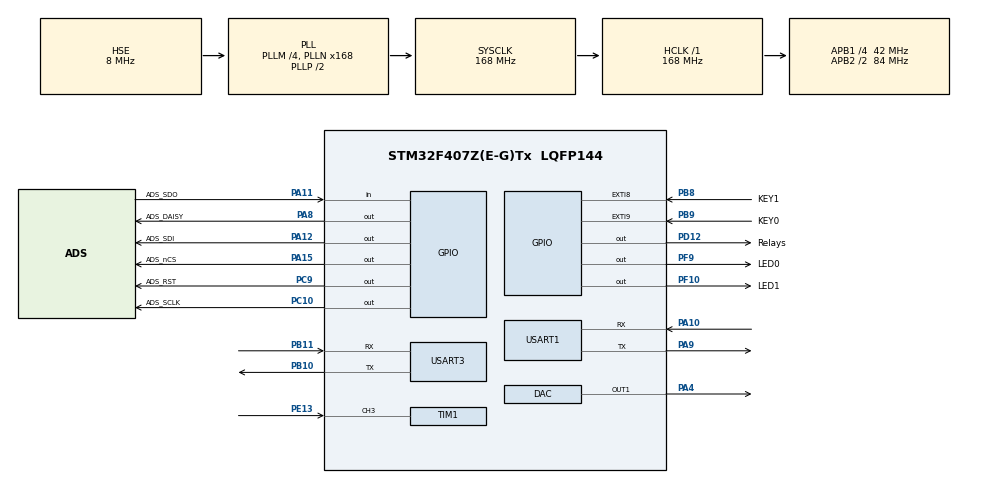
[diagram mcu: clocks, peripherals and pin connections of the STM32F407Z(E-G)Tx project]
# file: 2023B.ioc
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DAC.DAC_Trigger=DAC_TRIGGER_SOFTWARE
Mcu.Family=STM32F4
Mcu.Name=STM32F407Z(E-G)Tx
Mcu.Package=LQFP144
NVIC.PriorityGroup=NVIC_PRIORITYGROUP_4
NVIC.TIM1_CC_IRQn=true\:0\:0\:false\:false\:true\:true\:true\:true
NVIC.USART3_IRQn=true\:0\:0\:false\:false\:true\:true\:true\:true
PA10.Mode=Asynchronous
PA10.Signal=USART1_RX
PA11.GPIO_Label=ADS_SDO
PA11.Signal=GPIO_Input
PA12.GPIO_Label=ADS_SDI
PA12.Signal=GPIO_Output
PA13.Mode=Serial_Wire
PA13.Signal=SYS_JTMS-SWDIO
PA14.Mode=Serial_Wire
PA14.Signal=SYS_JTCK-SWCLK
PA15.GPIO_Label=ADS_nCS
PA15.Signal=GPIO_Output
PA4.Signal=COMP_DAC1_group
PA8.GPIO_Label=ADS_DAISY
PA8.Signal=GPIO_Output
PA9.Mode=Asynchronous
PA9.Signal=USART1_TX
PB10.Mode=Asynchronous
PB10.Signal=USART3_TX
PB11.Mode=Asynchronous
PB11.Signal=USART3_RX
PB8.GPIO_Label=KEY1
PB8.GPIO_ModeDefaultEXTI=GPIO_MODE_IT_FALLING
PB8.GPIO_PuPd=GPIO_PULLUP
PB8.Signal=GPXTI8
PB9.GPIO_Label=KEY0
PB9.GPIO_ModeDefaultEXTI=GPIO_MODE_IT_FALLING
PB9.GPIO_PuPd=GPIO_PULLUP
PB9.Signal=GPXTI9
PC10.GPIO_Label=ADS_SCLK
PC10.Signal=GPIO_Output
PC9.GPIO_Label=ADS_RST
PC9.Signal=GPIO_Output
PD12.GPIO_Label=Relays
PD12.Signal=GPIO_Output
PE13.Signal=S_TIM1_CH3
PF10.GPIO_Label=LED1
PF10.GPIO_PuPd=GPIO_PULLUP
PF10.GPIO_Speed=GPIO_SPEED_FREQ_HIGH
PF10.PinState=GPIO_PIN_SET
PF10.Signal=GPIO_Output
PF9.GPIO_Label=LED0
PF9.GPIO_PuPd=GPIO_PULLUP
PF9.GPIO_Speed=GPIO_SPEED_FREQ_HIGH
PF9.PinState=GPIO_PIN_SET
PF9.Signal=GPIO_Output
PH0-OSC_IN.Mode=HSE-External-Oscillator
PH0-OSC_IN.Signal=RCC_OSC_IN
PH1-OSC_OUT.Mode=HSE-External-Oscillator
PH1-OSC_OUT.Signal=RCC_OSC_OUT
ProjectManager.HeapSize=0x200
ProjectManager.StackSize=0x400
ProjectManager.TargetToolchain=STM32CubeIDE
RCC.48MHZClocksFreq_Value=84000000
RCC.AHBFreq_Value=168000000
RCC.APB1CLKDivider=RCC_HCLK_DIV4
RCC.APB1Freq_Value=42000000
RCC.APB1TimFreq_Value=84000000
RCC.APB2CLKDivider=RCC_HCLK_DIV2
RCC.APB2Freq_Value=84000000
RCC.APB2TimFreq_Value=168000000
RCC.CortexFreq_Value=168000000
RCC.HCLKFreq_Value=168000000
RCC.HSE_VALUE=8000000
RCC.HSI_VALUE=16000000
RCC.LSE_VALUE=32768
RCC.PLLM=4
RCC.PLLN=168
RCC.PLLSourceVirtual=RCC_PLLSOURCE_HSE
RCC.SYSCLKFreq_VALUE=168000000
RCC.SYSCLKSource=RCC_SYSCLKSOURCE_PLLCLK
RCC.VCOOutputFreq_Value=336000000
SH.COMP_DAC1_group.0=DAC_OUT1,DAC_OUT1
SH.S_TIM1_CH3.0=TIM1_CH3,Input_Capture3_from_TI3
TIM1.Channel-Input_Capture3_from_TI3=TIM_CHANNEL_3
TIM1.Prescaler=2-1
TIM3.Period=1
TIM3.Prescaler=9
TIM3.TIM_MasterOutputTrigger=TIM_TRGO_UPDATE
USART1.VirtualMode=VM_ASYNC
USART3.VirtualMode=VM_ASYNC
VP_TIM1_VS_ClockSourceINT.Mode=Internal
VP_TIM3_VS_ClockSourceINT.Mode=Internal
board=custom

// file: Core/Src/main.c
/* USER CODE BEGIN Header */
/**
 ******************************************************************************
 * @file           : main.c
 * @brief          : Main program body
 ******************************************************************************
 * @attention
 *
 * Copyright (c) 2023 STMicroelectronics.
 * All rights reserved.
 *
 * This software is licensed under terms that can be found in the LICENSE file
 * in the root directory of this software component.
 * If no LICENSE file comes with this software, it is provided AS-IS.
 *
 ******************************************************************************
 */
/* USER CODE END Header */
#include "main.h"
#include "dac.h"
#include "tim.h"
#include "usart.h"
#include "gpio.h"

/* USER CODE BEGIN Includes */
#include <stdio.h>
#include "math.h"
#include "arm_math.h"
#include "ADS8688.h"
#include "tjc_usart_hmi.h"

/* USER CODE END Includes */

/* USER CODE BEGIN PD */
//定义判断状态标志位
#define open_flag 0
#define c_flag 1
#define r_flag 2

//定义连接负载板电容
#define add_C 1.9

//定义基础开路振荡频率
#define basic_freq 132e3

//乘积和振荡频率的一次函数关关系
#define freq_slope -0.465
#define freq_intercept 60.803

//线缆等效电容线密度
#define line_density_slope 46.167
#define line_density_intercept 18.992

//定义分压测量电阻的串联已知电阻
#define Rs 20.5
/* USER CODE END PD */

/* USER CODE BEGIN PV */
int time[3];
int i = 0;
int flag = 1;

//定义第一次测量电路频率
double freq = 0;
//定义第一次测量的乘积=线长*振荡频率
double sum = 0;
//定义第一次测量线度
double length = 0;
//定义第一次测量电缆的电容值
double C = 0;

//定义接入负载后的振荡频率
double connect_freq = 0;

double R_vol = 0;
//负载类型判断
int type = 0;
/* USER CODE END PV */

void SystemClock_Config(void);
/* USER CODE BEGIN PFP */
//判断负载类型
int judge_type(float connect_freq);

//第一次计算电缆长度
void calculate_length();

//第二次计算
void recalculate();
/* USER CODE END PFP */

/* USER CODE BEGIN 0 */

void HAL_TIM_IC_CaptureCallback(TIM_HandleTypeDef *htim)
{
//	__HAL_TIM_SET_COUNTER(&htim1,0);

	if(i==0)
	{
		time[i] = HAL_TIM_ReadCapturedValue(&htim1, TIM_CHANNEL_3);
		i++;
	}
	else if(i==1)
	{
		time[i] = HAL_TIM_ReadCapturedValue(&htim1, TIM_CHANNEL_3);
		i++;
	}
	else
	{
		return;
	}

}
/* USER CODE END 0 */

int main(void)
{

  /* MCU Configuration--------------------------------------------------------*/

  /* Reset of all peripherals, Initializes the Flash interface and the Systick. */
  HAL_Init();

  /* Configure the system clock */
  SystemClock_Config();

  /* Initialize all configured peripherals */
  MX_GPIO_Init();
  MX_USART1_UART_Init();
  MX_DAC_Init();
  MX_TIM3_Init();
  MX_TIM1_Init();
  MX_USART3_UART_Init();
  /* USER CODE BEGIN 2 */
  //初始化ADS8688
  ADS8688_Init_Mult();
  initRingBuff();
  HAL_UART_Receive_IT(&huart3,RxBuff,1);
  //初始化继电器
  HAL_GPIO_WritePin(Relays_GPIO_Port, Relays_Pin, RESET);

  /* USER CODE END 2 */

  /* Infinite loop */
  /* USER CODE BEGIN WHILE */
//  //适当延时，使输入捕获频率测量完毕
//  HAL_Delay(1000);
//  //计算第一次的参数：freq,C,length
//  calculate_length();
//
//  HAL_Delay(1000);
//
//  //进行第二次计算
//  recalculate();
//  //进行负载判断
//  type = judge_type(connect_freq);
//
//  if(type == c_flag)
//  {
//	  //计算连接后的乘积
//	  double sum_connect = (-0.4052)*connect_freq/1000+60.846;
//	  //计算连接后的等效电缆长度
//	  double length_connect = sum_connect/(connect_freq/1000);
//	  //根据电缆电容线密度，由等效长度算出等效电容大小
//	  double C_connect = length_connect*line_density_slope+line_density_intercept;
//	  //算出来的C不对，需要拟合得出正确的结果
//	  double real_c = 2.0755*(C_connect-C-add_C)+8.7644;
//	  printf("newC=%f\r\n",real_c);
//  }
//  else if(type == r_flag)
//  {
//	 //写后续切换继电器操作
//  	 HAL_GPIO_WritePin(Relays_GPIO_Port, Relays_Pin, SET);
//  	 HAL_Delay(100);
//
//  	 //分压法测电阻阻值，ADS8688采集电压更准确
//  	 R_vol = get_vol(1);
//	 printf("R_vol=%f\r\n",R_vol);
//
// 	 double R = (R_vol*Rs)/(5-R_vol);
// 	 printf("R=%f\r\n",R);
//  }
//  else
//  {
//	  //开路，什么也不操作
//  }

    while (1)
  {

    	TJC_USART();//等待按键按下

  }

    /* USER CODE END WHILE */

}

void SystemClock_Config(void)
{
  RCC_OscInitTypeDef RCC_OscInitStruct = {0};
  RCC_ClkInitTypeDef RCC_ClkInitStruct = {0};

  /** Configure the main internal regulator output voltage
  */
  __HAL_RCC_PWR_CLK_ENABLE();
  __HAL_PWR_VOLTAGESCALING_CONFIG(PWR_REGULATOR_VOLTAGE_SCALE1);

  /** Initializes the RCC Oscillators according to the specified parameters
  * in the RCC_OscInitTypeDef structure.
  */
  RCC_OscInitStruct.OscillatorType = RCC_OSCILLATORTYPE_HSE;
  RCC_OscInitStruct.HSEState = RCC_HSE_ON;
  RCC_OscInitStruct.PLL.PLLState = RCC_PLL_ON;
  RCC_OscInitStruct.PLL.PLLSource = RCC_PLLSOURCE_HSE;
  RCC_OscInitStruct.PLL.PLLM = 4;
  RCC_OscInitStruct.PLL.PLLN = 168;
  RCC_OscInitStruct.PLL.PLLP = RCC_PLLP_DIV2;
  RCC_OscInitStruct.PLL.PLLQ = 4;
  if (HAL_RCC_OscConfig(&RCC_OscInitStruct) != HAL_OK)
  {
    Error_Handler();
  }

  /** Initializes the CPU, AHB and APB buses clocks
  */
  RCC_ClkInitStruct.ClockType = RCC_CLOCKTYPE_HCLK|RCC_CLOCKTYPE_SYSCLK
                              |RCC_CLOCKTYPE_PCLK1|RCC_CLOCKTYPE_PCLK2;
  RCC_ClkInitStruct.SYSCLKSource = RCC_SYSCLKSOURCE_PLLCLK;
  RCC_ClkInitStruct.AHBCLKDivider = RCC_SYSCLK_DIV1;
  RCC_ClkInitStruct.APB1CLKDivider = RCC_HCLK_DIV4;
  RCC_ClkInitStruct.APB2CLKDivider = RCC_HCLK_DIV2;

  if (HAL_RCC_ClockConfig(&RCC_ClkInitStruct, FLASH_LATENCY_5) != HAL_OK)
  {
    Error_Handler();
  }
}

/* USER CODE BEGIN 4 */
int judge_type(float connect_freq)
{
	//如果不震荡了，那就是接入了电阻
	if(connect_freq == 0)
	{
		return r_flag;
	}
	//如果频率和开路的基本频率基本一样，那么就是开路，这个容忍度是40kHz
	else if((freq-connect_freq)<4e3)
	{
		return open_flag;
	}
	//否则就是电容接入
	else
	{
		return c_flag;
	}
}

void calculate_length()
{
	//继电器复位
	HAL_GPIO_WritePin(Relays_GPIO_Port, Relays_Pin, RESET);

	//等待继电器稳定
	HAL_Delay(300);
	i = 0;
    HAL_TIM_Base_Start(&htim1);
    HAL_TIM_IC_Start_IT(&htim1, TIM_CHANNEL_3);
    __HAL_TIM_SET_COUNTER(&htim1,0);
    HAL_Delay(100);
	//第一次计算，算出振荡频率、线长和等效电容
	time[2]=time[1]-time[0];
	printf("%d\r\n",time[2]);
	freq= (84*1000000)/time[2];
	printf("freq=%f k\r\n",freq/1000);
	sum = freq_slope*freq/1000+freq_intercept;
	length = sum/(freq/1000);
	printf("length=%f\r\n",length);
	C = length*46.167+18.992;
	printf("C=%f\r\n",C);
	HAL_TIM_Base_Stop(&htim1);
	HAL_TIM_IC_Stop_IT(&htim1, TIM_CHANNEL_3);
}

void recalculate()
{
	//第二次计算，考虑到可能不振荡从而触发不了输入捕获，先把两个time置零
	time[1] = time[0] = 0;
	i = 0;
    HAL_TIM_Base_Start(&htim1);
    HAL_TIM_IC_Start_IT(&htim1, TIM_CHANNEL_3);
    __HAL_TIM_SET_COUNTER(&htim1,0);

	HAL_Delay(100);
	time[2]=time[1]-time[0];

	//如果算出来是0，那说明没有触发输入捕获，这样就说明没有震荡，接入了电阻
	if(time[2] == 0)
	{
		connect_freq = 0;
		printf("电阻");
	}
	//触发了输入捕获就是开路或者接入电容，可以算出来振荡频率
	else
	{
		connect_freq= (84*1000000)/time[2];
	}
	HAL_TIM_Base_Stop(&htim1);
	HAL_TIM_IC_Stop_IT(&htim1, TIM_CHANNEL_3);
}

void TJC_USART()
{
	while (usize >= 6)
	{
		// 校验帧头帧尾是否匹配
		if (u(0) != 0x55 || u(3) != 0xff || u(4) != 0xff || u(5) != 0xff)
		{
			// 不匹配删除1字节
			udelete(1);
		}
		else
		{
			// 匹配，跳出循环
			break;
		}
	}

	// 进行解析
	if (usize >= 6 && u(0) == 0x55 && u(3) == 0xff && u(4) == 0xff&& u(5) == 0xff)
	{
		if ((u(1) == 0x00))
		{ // 长度检测
			TJCPrintf("t5.txt=\"正在检测\"");
			TJCPrintf("x1.val=%d",(int)(0*100));
			TJCPrintf("t8.txt=\" \"");
			TJCPrintf("t6.txt=\"开路\"");
			calculate_length();
			TJCPrintf("t5.txt=\"结果保持\"");
			TJCPrintf("x0.val=%d",(int)(length * 10000));

		}
		else if (u(1) == 0x01)
		{ // 负载检测
			TJCPrintf("t5.txt=\"正在检测\"");
			recalculate();
			type = judge_type(connect_freq);

			  if(type == c_flag)
			  {
				  //计算连接后的乘积
				  double sum_connect = (-0.4052)*connect_freq/1000+60.846;
				  //计算连接后的等效电缆长度
				  double length_connect = sum_connect/(connect_freq/1000);
				  //根据电缆电容线密度，由等效长度算出等效电容大小
				  double C_connect = length_connect*line_density_slope+line_density_intercept;
				  //算出来的C不对，需要拟合得出正确的结果
				  double real_c = (2.0755*(C_connect-C-add_C)+8.7644)*1.0081-16.524;
				  printf("newC=%f\r\n",real_c);
				  TJCPrintf("t6.txt=\"电容\"");
				  TJCPrintf("x1.val=%d",(int)(real_c * 100));
				  TJCPrintf("t8.txt=\"pF\"");
				  TJCPrintf("t5.txt=\"结果保持\"");
			  }
			  else if(type == r_flag)
			  {
				 //写后续切换继电器操作
			  	 HAL_GPIO_WritePin(Relays_GPIO_Port, Relays_Pin, SET);
			  	 HAL_Delay(100);

			  	 //分压法测电阻阻值，ADS8688采集电压更准确
			  	 R_vol = get_vol(1);
				 printf("R_vol=%f\r\n",R_vol);

			 	 double R = ((R_vol*Rs)/(5-R_vol))*0.98+0.1234;
			 	 printf("R=%f\r\n",R);
			 	 TJCPrintf("t6.txt=\"电阻\"");
			 	 TJCPrintf("x1.val=%d",(int)(R*100));
			 	 TJCPrintf("t8.txt=\"Ω\"");
			 	 TJCPrintf("t5.txt=\"结果保持\"");
			  }
			  else
			  {
				  TJCPrintf("x1.val=%d",(int)(0*100));
				  TJCPrintf("t8.txt=\" \"");
				  TJCPrintf("t6.txt=\"开路\"");
				  TJCPrintf("t5.txt=\"结果保持\"");
				  //开路，什么也不操作
			  }
		}
		udelete(6);
	}
}

/* USER CODE END 4 */

void Error_Handler(void)
{
    __disable_irq();
    while (1) {
    }
}
